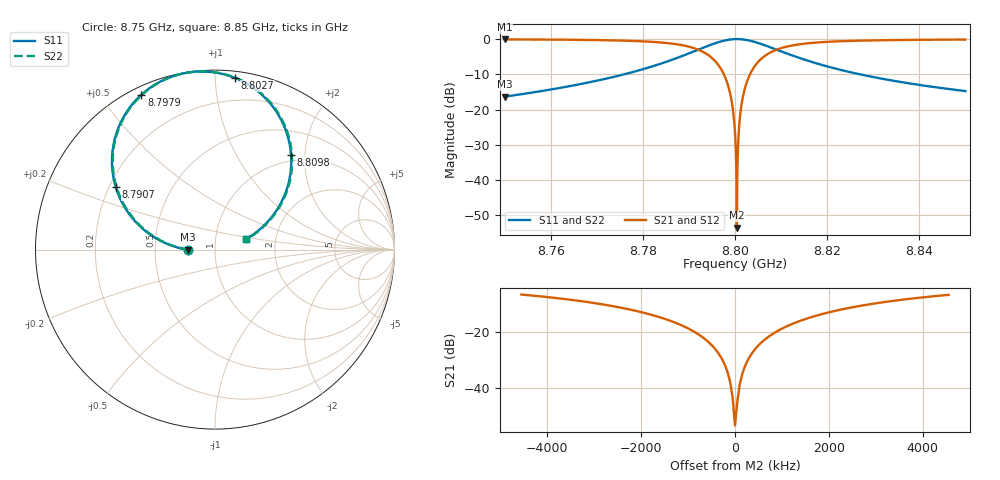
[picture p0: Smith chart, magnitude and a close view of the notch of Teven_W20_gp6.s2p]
! Sonnet Data File
! From: emgraph Version : 16.52
! From Project: transmon_trial
! Data is De-embedded
! Data File Written: 10/20/2017 15:56:55
!< HDATE 10/20/2017 14:38:19
!< MDATE 10/20/2017 14:38:19
!< PARAMS
!< Lj = 15.24
!< Gap = 6.0
!< Width = 20.0
!< Airgap = 12.0
!< Pwidth = 2000.0
!< END PARAMS
# GHZ S MA R 51.00000
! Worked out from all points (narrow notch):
!   2001 points, 8.75 GHz to 8.85 GHz, reference 51 ohm
!   highest |S21| = -0.10 dB at 8.75 GHz (marker M1); lowest = -53.5 dB at 8.8004 GHz (marker M2)
!   notch at M2: 53.0 dB deep, 766 kHz wide at half that depth
!   lowest |S11| = -16.3 dB at 8.75 GHz (marker M3), VSWR 1.36, Z = 37.5 - j0.0409 ohm
!   |S11| at or under -10 dB: start of sweep to 8.775955 GHz; 8.827084 GHz to end of sweep
!   |S22| runs from -16.3 to 0.0 dB; largest |S21 - S12| = 0
!   S11 on the Smith chart (normalised r, x): 8.75 GHz: 0.74, -0.00; 8.7907 GHz: 0.23, +0.28; 8.7979 GHz: 0.03, +0.63; 8.8027 GHz: 0.04, +1.12; 8.8098 GHz: 0.89, +1.73; 8.85 GHz: 1.41, +0.17
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8.75  0.1525 -179.8  0.9882 -90.0  0.9882 -90.0  0.1525 179.9
!< P1 F=8.75 Eeff=(6.44618815 -2.9977e-5) Z0=(50.9066419 1.15687e-4) R=0.0 C=0.0
!< P2 F=8.75 Eeff=(6.44618815 -2.9977e-5) Z0=(50.9066419 1.15687e-4) R=0.0 C=0.0
8.7667  0.2314 175.5  0.9727 -94.7  0.9727 -94.7  0.2314 175.1
8.78335  0.4357 162.9  0.8996 -107.3  0.8996 -107.3  0.4357 162.4
8.79075  0.6543 147.7  0.755 -122.4  0.755 -122.4  0.6543 147.2
8.7951  0.8451 130.8  0.5318 -139.3  0.5318 -139.3  0.8451 130.3
8.79785  0.9556 115.4  0.2882 -154.5  0.2882 -154.5  0.9556 114.9
8.7987  0.9784 110.0  0.1966 -159.7  0.1966 -159.7  0.9784 109.5
8.79935  0.9904 105.7  0.1229 -163.6  0.1229 -163.6  0.9903 105.2
8.79975  0.995 103.0  0.0766 -165.7  0.0766 -165.7  0.995 102.5
8.8  0.9968 101.3  0.04741 -166.4  0.04741 -166.4  0.9968 100.8
8.8002  0.9976 100.0  0.02401 -165.3  0.02401 -165.3  0.9976 99.5
8.8004  0.9979 98.6  0.002123 -94.0  0.002123 -94.0  0.9979 98.1
8.80075  0.9971 96.3  0.0406 3.1  0.0406 3.1  0.9971 95.8
8.8011  0.9946 93.9  0.08132 2.2  0.08132 2.2  0.9946 93.4
8.80145  0.9905 91.6  0.1216 0.4  0.1216 0.4  0.9905 91.1
8.802  0.981 88.0  0.1836 -2.9  0.1836 -2.9  0.981 87.5
8.80275  0.9624 83.3  0.2644 -7.4  0.2644 -7.4  0.9624 82.7
8.80545  0.8607 68.2  0.5062 -22.3  0.5062 -22.3  0.8607 67.6
8.8098  0.6764 51.2  0.7353 -39.2  0.7353 -39.2  0.6764 50.7
8.8167  0.4726 36.8  0.8808 -53.6  0.8808 -53.6  0.4726 36.2
8.83335  0.2631 23.6  0.9646 -66.7  0.9646 -66.7  0.2631 23.0
8.85  0.183 18.8  0.9831 -71.6  0.9831 -71.6  0.183 18.1
